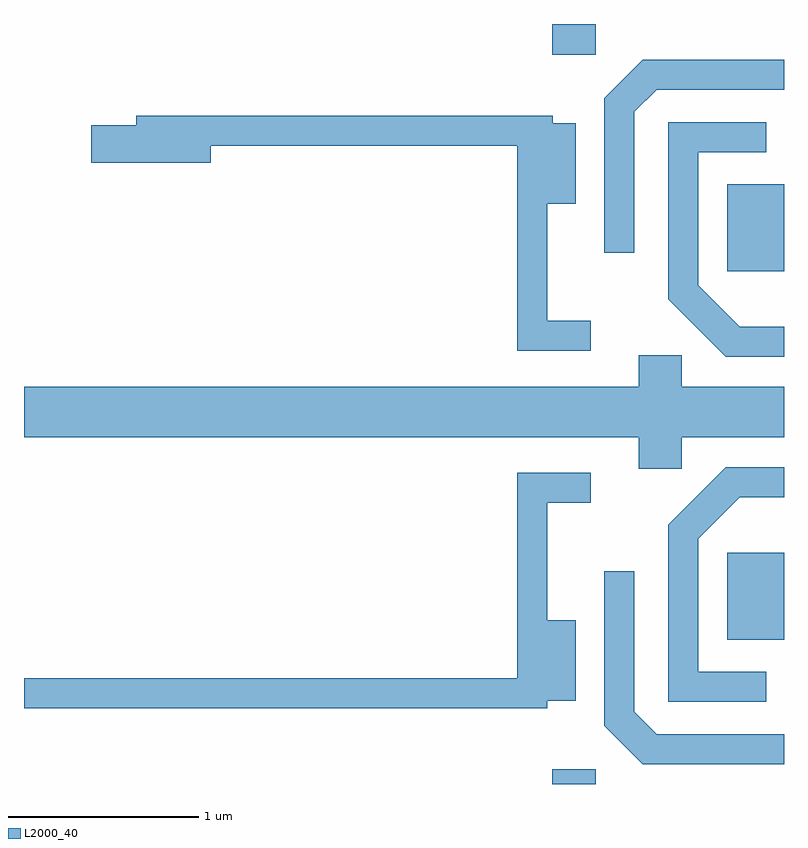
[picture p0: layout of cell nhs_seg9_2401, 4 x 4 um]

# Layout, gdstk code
import gdstk
lib = gdstk.Library(unit=1e-6, precision=1e-09)
def R(c, l, rs):  # rectangles x0, y0, x1, y1
    for r in rs: c.add(gdstk.rectangle(r[:2], r[2:], *l))
def P(c, l, *ps):  # polygons
    for p in ps: c.add(gdstk.Polygon(p, *l))
L2000_40 = (2000, 40)

nhs_seg9_2401 = lib.new_cell('nhs_seg9_2401')
R(nhs_seg9_2401, L2000_40, [(258.391,1994.432,258.619,1994.509), (259.311,1995.191,259.611,1995.649), (259.311,1997.131,259.611,1997.589), (258.391,1998.271,258.619,1998.432)])
P(nhs_seg9_2401, L2000_40, [(258.824,1997.969),(258.942,1998.086),(259.611,1998.086),(259.611,1998.244),(258.868,1998.244),(258.666,1998.042),(258.666,1997.228),(258.824,1997.228)],
  [(258.593,1996.869),(258.364,1996.869),(258.364,1997.486),(258.514,1997.486),(258.514,1997.909),(258.394,1997.909),(258.394,1997.949),(256.201,1997.949),(256.201,1997.899),(255.966,1997.899),(255.966,1997.701),(256.594,1997.701),(256.594,1997.791),(258.206,1997.791),(258.206,1996.711),(258.593,1996.711)],
  [(259.611,1996.839),(259.377,1996.839),(259.159,1997.057),(259.159,1997.756),(259.517,1997.756),(259.517,1997.914),(259.001,1997.914),(259.001,1996.984),(259.304,1996.681),(259.611,1996.681)],
  [(259.074,1996.256),(259.611,1996.256),(259.611,1996.524),(259.074,1996.524),(259.074,1996.689),(258.846,1996.689),(258.846,1996.524),(255.611,1996.524),(255.611,1996.256),(258.846,1996.256),(258.846,1996.091),(259.074,1996.091)],
  [(259.517,1995.024),(259.159,1995.024),(259.159,1995.724),(259.377,1995.941),(259.611,1995.941),(259.611,1996.099),(259.304,1996.099),(259.001,1995.797),(259.001,1994.866),(259.517,1994.866)],
  [(258.364,1994.871),(258.514,1994.871),(258.514,1995.294),(258.364,1995.294),(258.364,1995.911),(258.593,1995.911),(258.593,1996.069),(258.206,1996.069),(258.206,1994.989),(255.611,1994.989),(255.611,1994.831),(258.364,1994.831)],
  [(259.611,1994.694),(258.942,1994.694),(258.824,1994.812),(258.824,1995.553),(258.666,1995.553),(258.666,1994.739),(258.868,1994.536),(259.611,1994.536)])

lib.write_gds('nhs_seg9_2401.gds')
